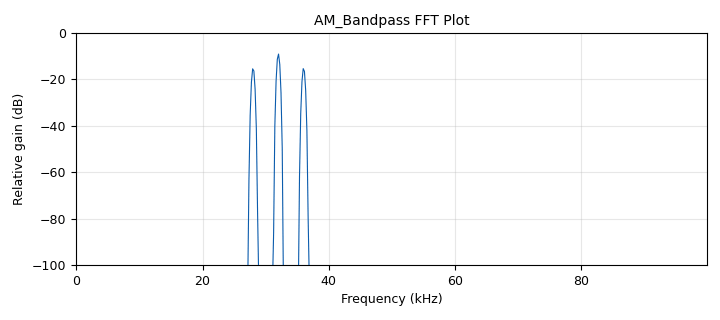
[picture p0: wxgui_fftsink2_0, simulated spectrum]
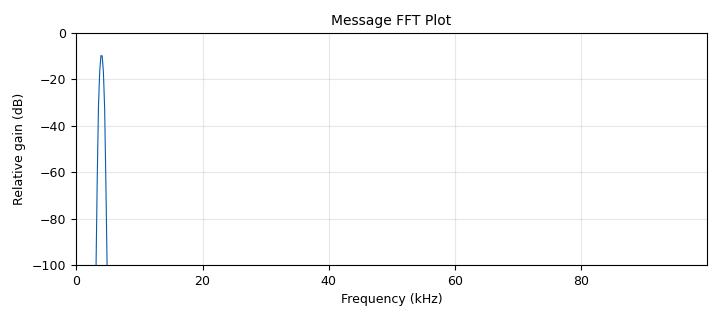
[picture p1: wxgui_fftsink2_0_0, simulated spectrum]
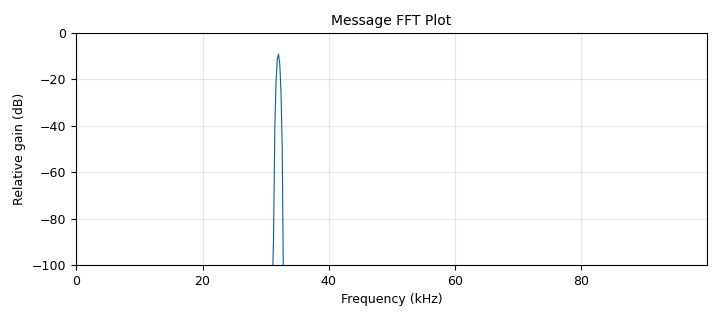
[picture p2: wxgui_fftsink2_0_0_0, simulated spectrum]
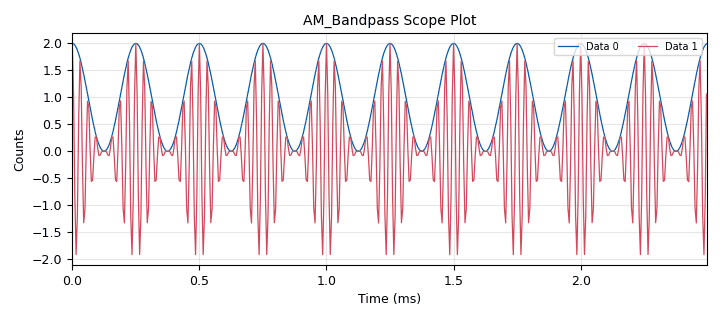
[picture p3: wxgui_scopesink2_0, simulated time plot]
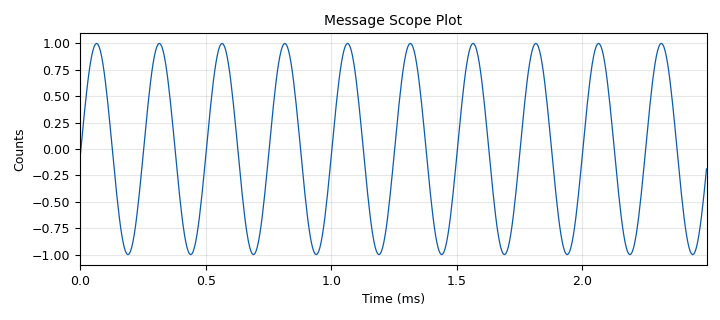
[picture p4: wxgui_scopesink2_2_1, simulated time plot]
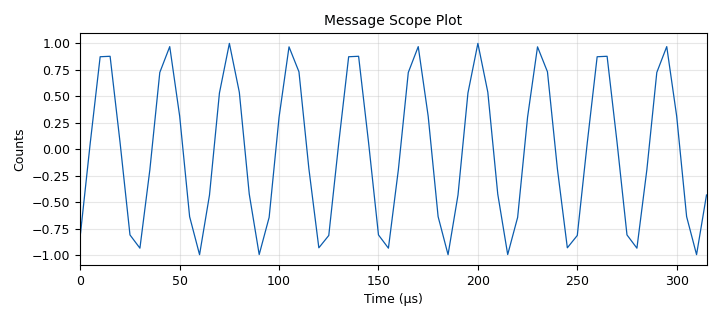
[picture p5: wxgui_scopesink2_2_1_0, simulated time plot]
<?xml version='1.0' encoding='utf-8'?>
<?grc format='1' created='3.7.10'?>
<flow_graph>
<block>
<key>options</key>
<param><key>id</key><value>am_tx</value></param>
<param><key>author</key><value>Alexandros-Apostolos A. Boulogeorgos</value></param>
<param><key>description</key><value>A simple AM transmitter</value></param>
<param><key>generate_options</key><value>wx_gui</value></param>
<param><key>title</key><value>AM TX</value></param>
</block>
<block>
<key>variable_slider</key>
<param><key>id</key><value>fc</value></param>
<param><key>converver</key><value>float_converter</value></param>
<param><key>value</key><value>32000</value></param>
<param><key>label</key><value></value></param>
<param><key>max</key><value>samp_rate/2</value></param>
<param><key>min</key><value>16000</value></param>
<param><key>num_steps</key><value>100</value></param>
<param><key>style</key><value>wx.SL_HORIZONTAL</value></param>
</block>
<block>
<key>variable_slider</key>
<param><key>id</key><value>fm</value></param>
<param><key>converver</key><value>float_converter</value></param>
<param><key>value</key><value>4000</value></param>
<param><key>label</key><value></value></param>
<param><key>max</key><value>10000</value></param>
<param><key>min</key><value>0</value></param>
<param><key>num_steps</key><value>100</value></param>
<param><key>style</key><value>wx.SL_HORIZONTAL</value></param>
</block>
<block>
<key>variable_slider</key>
<param><key>id</key><value>ka</value></param>
<param><key>converver</key><value>float_converter</value></param>
<param><key>value</key><value>1</value></param>
<param><key>label</key><value></value></param>
<param><key>max</key><value>2</value></param>
<param><key>min</key><value>0</value></param>
<param><key>num_steps</key><value>100</value></param>
<param><key>style</key><value>wx.SL_HORIZONTAL</value></param>
</block>
<block>
<key>variable</key>
<param><key>id</key><value>samp_rate</value></param>
<param><key>value</key><value>200000</value></param>
</block>
<block>
<key>analog_sig_source_x</key>
<param><key>id</key><value>analog_sig_source_x_0</value></param>
<param><key>amp</key><value>1</value></param>
<param><key>freq</key><value>fm</value></param>
<param><key>offset</key><value>0</value></param>
<param><key>type</key><value>float</value></param>
<param><key>samp_rate</key><value>samp_rate</value></param>
<param><key>waveform</key><value>analog.GR_COS_WAVE</value></param>
</block>
<block>
<key>analog_sig_source_x</key>
<param><key>id</key><value>analog_sig_source_x_1_1</value></param>
<param><key>amp</key><value>1</value></param>
<param><key>freq</key><value>fc</value></param>
<param><key>offset</key><value>0</value></param>
<param><key>type</key><value>float</value></param>
<param><key>samp_rate</key><value>samp_rate</value></param>
<param><key>waveform</key><value>analog.GR_COS_WAVE</value></param>
</block>
<block>
<key>blocks_add_const_vxx</key>
<param><key>id</key><value>blocks_add_const_vxx_0</value></param>
<param><key>const</key><value>1</value></param>
<param><key>type</key><value>float</value></param>
</block>
<block>
<key>blocks_multiply_const_vxx</key>
<param><key>id</key><value>blocks_multiply_const_vxx_0</value></param>
<param><key>const</key><value>ka</value></param>
<param><key>type</key><value>float</value></param>
</block>
<block>
<key>blocks_multiply_xx</key>
<param><key>id</key><value>blocks_multiply_xx_2</value></param>
<param><key>type</key><value>float</value></param>
</block>
<block>
<key>blocks_throttle</key>
<param><key>id</key><value>blocks_throttle_1</value></param>
<param><key>samples_per_second</key><value>samp_rate</value></param>
<param><key>type</key><value>float</value></param>
</block>
<block>
<key>notebook</key>
<param><key>id</key><value>notebook</value></param>
<param><key>labels</key><value>['tab1', 'tab2', 'tab3','tab4','tab5']</value></param>
<param><key>style</key><value>wx.NB_TOP</value></param>
</block>
<block>
<key>wxgui_fftsink2</key>
<param><key>id</key><value>wxgui_fftsink2_0</value></param>
<param><key>avg_alpha</key><value>0</value></param>
<param><key>average</key><value>False</value></param>
<param><key>baseband_freq</key><value>0</value></param>
<param><key>fft_size</key><value>1024</value></param>
<param><key>freqvar</key><value>None</value></param>
<param><key>notebook</key><value>notebook,4</value></param>
<param><key>peak_hold</key><value>False</value></param>
<param><key>ref_level</key><value>0</value></param>
<param><key>ref_scale</key><value>2.0</value></param>
<param><key>fft_rate</key><value>15</value></param>
<param><key>samp_rate</key><value>samp_rate</value></param>
<param><key>title</key><value>AM_Bandpass FFT Plot</value></param>
<param><key>type</key><value>float</value></param>
<param><key>win</key><value>None</value></param>
<param><key>y_divs</key><value>10</value></param>
<param><key>y_per_div</key><value>10</value></param>
</block>
<block>
<key>wxgui_fftsink2</key>
<param><key>id</key><value>wxgui_fftsink2_0_0</value></param>
<param><key>avg_alpha</key><value>0</value></param>
<param><key>average</key><value>False</value></param>
<param><key>baseband_freq</key><value>0</value></param>
<param><key>fft_size</key><value>1024</value></param>
<param><key>freqvar</key><value>None</value></param>
<param><key>notebook</key><value>notebook,1</value></param>
<param><key>peak_hold</key><value>False</value></param>
<param><key>ref_level</key><value>0</value></param>
<param><key>ref_scale</key><value>2.0</value></param>
<param><key>fft_rate</key><value>15</value></param>
<param><key>samp_rate</key><value>samp_rate</value></param>
<param><key>title</key><value>Message FFT Plot</value></param>
<param><key>type</key><value>float</value></param>
<param><key>win</key><value>None</value></param>
<param><key>y_divs</key><value>10</value></param>
<param><key>y_per_div</key><value>10</value></param>
</block>
<block>
<key>wxgui_fftsink2</key>
<param><key>id</key><value>wxgui_fftsink2_0_0_0</value></param>
<param><key>avg_alpha</key><value>0</value></param>
<param><key>average</key><value>False</value></param>
<param><key>baseband_freq</key><value>0</value></param>
<param><key>fft_size</key><value>1024</value></param>
<param><key>freqvar</key><value>None</value></param>
<param><key>notebook</key><value>notebook,2</value></param>
<param><key>peak_hold</key><value>False</value></param>
<param><key>ref_level</key><value>0</value></param>
<param><key>ref_scale</key><value>2.0</value></param>
<param><key>fft_rate</key><value>15</value></param>
<param><key>samp_rate</key><value>samp_rate</value></param>
<param><key>title</key><value>Message FFT Plot</value></param>
<param><key>type</key><value>float</value></param>
<param><key>win</key><value>None</value></param>
<param><key>y_divs</key><value>10</value></param>
<param><key>y_per_div</key><value>10</value></param>
</block>
<block>
<key>wxgui_scopesink2</key>
<param><key>id</key><value>wxgui_scopesink2_0</value></param>
<param><key>ac_couple</key><value>False</value></param>
<param><key>notebook</key><value>notebook,3</value></param>
<param><key>num_inputs</key><value>2</value></param>
<param><key>samp_rate</key><value>samp_rate</value></param>
<param><key>t_scale</key><value>0</value></param>
<param><key>title</key><value>AM_Bandpass Scope Plot</value></param>
<param><key>trig_mode</key><value>wxgui.TRIG_MODE_AUTO</value></param>
<param><key>type</key><value>float</value></param>
<param><key>v_offset</key><value>0</value></param>
<param><key>v_scale</key><value>0</value></param>
<param><key>xy_mode</key><value>False</value></param>
<param><key>y_axis_label</key><value>Counts</value></param>
</block>
<block>
<key>wxgui_scopesink2</key>
<param><key>id</key><value>wxgui_scopesink2_2_1</value></param>
<param><key>ac_couple</key><value>False</value></param>
<param><key>notebook</key><value>notebook,0</value></param>
<param><key>num_inputs</key><value>1</value></param>
<param><key>samp_rate</key><value>samp_rate</value></param>
<param><key>t_scale</key><value>0</value></param>
<param><key>title</key><value>Message Scope Plot</value></param>
<param><key>trig_mode</key><value>wxgui.TRIG_MODE_AUTO</value></param>
<param><key>type</key><value>float</value></param>
<param><key>v_offset</key><value>0</value></param>
<param><key>v_scale</key><value>0</value></param>
<param><key>xy_mode</key><value>False</value></param>
<param><key>y_axis_label</key><value>Counts</value></param>
</block>
<block>
<key>wxgui_scopesink2</key>
<param><key>id</key><value>wxgui_scopesink2_2_1_0</value></param>
<param><key>ac_couple</key><value>False</value></param>
<param><key>notebook</key><value>notebook,2</value></param>
<param><key>num_inputs</key><value>1</value></param>
<param><key>samp_rate</key><value>samp_rate</value></param>
<param><key>t_scale</key><value>0</value></param>
<param><key>title</key><value>Message Scope Plot</value></param>
<param><key>trig_mode</key><value>wxgui.TRIG_MODE_AUTO</value></param>
<param><key>type</key><value>float</value></param>
<param><key>v_offset</key><value>0</value></param>
<param><key>v_scale</key><value>0</value></param>
<param><key>xy_mode</key><value>False</value></param>
<param><key>y_axis_label</key><value>Counts</value></param>
</block>
<connection><source_block_id>analog_sig_source_x_0</source_block_id><sink_block_id>blocks_throttle_1</sink_block_id><source_key>0</source_key><sink_key>0</sink_key></connection>
<connection><source_block_id>analog_sig_source_x_1_1</source_block_id><sink_block_id>blocks_multiply_xx_2</sink_block_id><source_key>0</source_key><sink_key>1</sink_key></connection>
<connection><source_block_id>analog_sig_source_x_1_1</source_block_id><sink_block_id>wxgui_fftsink2_0_0_0</sink_block_id><source_key>0</source_key><sink_key>0</sink_key></connection>
<connection><source_block_id>analog_sig_source_x_1_1</source_block_id><sink_block_id>wxgui_scopesink2_2_1_0</sink_block_id><source_key>0</source_key><sink_key>0</sink_key></connection>
<connection><source_block_id>blocks_add_const_vxx_0</source_block_id><sink_block_id>blocks_multiply_xx_2</sink_block_id><source_key>0</source_key><sink_key>0</sink_key></connection>
<connection><source_block_id>blocks_add_const_vxx_0</source_block_id><sink_block_id>wxgui_scopesink2_0</sink_block_id><source_key>0</source_key><sink_key>0</sink_key></connection>
<connection><source_block_id>blocks_multiply_const_vxx_0</source_block_id><sink_block_id>blocks_add_const_vxx_0</sink_block_id><source_key>0</source_key><sink_key>0</sink_key></connection>
<connection><source_block_id>blocks_multiply_xx_2</source_block_id><sink_block_id>wxgui_fftsink2_0</sink_block_id><source_key>0</source_key><sink_key>0</sink_key></connection>
<connection><source_block_id>blocks_multiply_xx_2</source_block_id><sink_block_id>wxgui_scopesink2_0</sink_block_id><source_key>0</source_key><sink_key>1</sink_key></connection>
<connection><source_block_id>blocks_throttle_1</source_block_id><sink_block_id>blocks_multiply_const_vxx_0</sink_block_id><source_key>0</source_key><sink_key>0</sink_key></connection>
<connection><source_block_id>blocks_throttle_1</source_block_id><sink_block_id>wxgui_fftsink2_0_0</sink_block_id><source_key>0</source_key><sink_key>0</sink_key></connection>
<connection><source_block_id>blocks_throttle_1</source_block_id><sink_block_id>wxgui_scopesink2_2_1</sink_block_id><source_key>0</source_key><sink_key>0</sink_key></connection>
</flow_graph>
